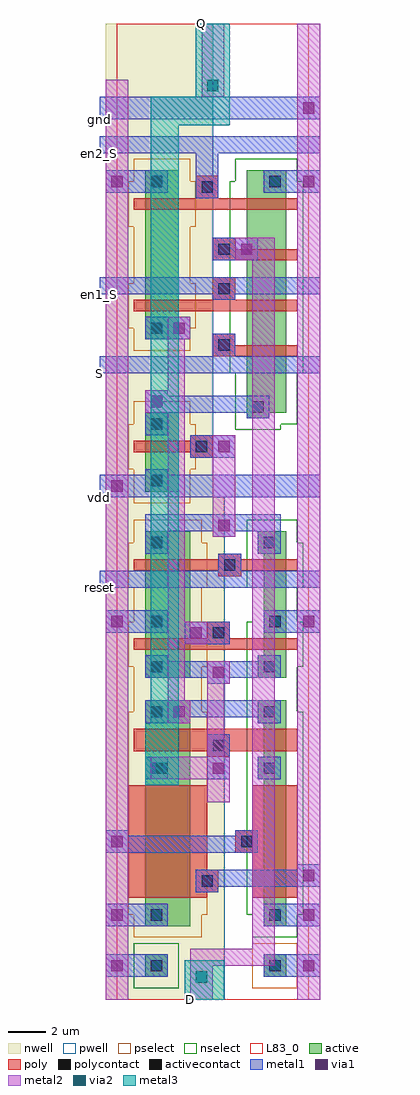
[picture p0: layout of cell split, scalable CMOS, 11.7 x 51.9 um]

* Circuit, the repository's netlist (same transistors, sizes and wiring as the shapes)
.SUBCKT split D Q en1_S en2_S reset S vdd gnd
M1 net_1 en2_S gnd gnd n w=2.1u l=0.6u 
M2 net_2 D net_1 gnd n w=2.1u l=0.6u  
M3 net_3 en1_S net_2 gnd n w=2.1u l=0.6u  
M4 net_4 S net_3 gnd n w=2.1u l=0.6u  
M5 net_4 en1_S net_5 vdd p w=1.8u l=0.6u
M6 vdd en2_S net_5 vdd p w=1.8u l=0.6u    
M7 Q net_4 vdd vdd p w=2.4u l=0.6u  
M8 Q net_4 gnd gnd n w=1.2u l=0.6u
M9 reset_bar reset vdd vdd p w=2.4u l=0.6u
M10 reset_bar reset gnd gnd n w=1.2u l=0.6u
M11 net_4 reset_bar vdd vdd p w=1.8u l=0.6u
M12 net_4 Q q1 gnd n w=1.2u l=1.2u
M13 net_4 Q p1 vdd p w=2.4u l=1.2u
M14 q1 vdd gnd gnd n w=1.2u l=6u
M15 p1 gnd vdd vdd p w=2.4u l=6u
.ENDS split

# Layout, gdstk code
import gdstk
lib = gdstk.Library(unit=1e-6, precision=1e-09)
def R(c, l, rs):  # rectangles x0, y0, x1, y1
    for r in rs: c.add(gdstk.rectangle(r[:2], r[2:], *l))
def A(c, l, x, y, w, h, nx, ny, dx, dy):  # array of equal rectangles
    R(c, l, [(x+i*dx, y+j*dy, x+i*dx+w, y+j*dy+h) for i in range(nx) for j in range(ny)])
pwell = (41, 0)
nwell = (42, 0)
active = (43, 0)
pselect = (44, 0)
nselect = (45, 0)
poly = (46, 0)
polycontact = (47, 0)
activecontact = (48, 0)
metal1 = (49, 0)
via1 = (50, 0)
metal2 = (51, 0)
via2 = (61, 0)
metal3 = (62, 0)
L83_0 = (83, 0)

split = lib.new_cell('split')
R(split, pwell, [(5.7,0,10.8,26.7), (5.1,26.7,10.8,51.9)])
R(split, nwell, [(-0.6,0,5.7,26.7), (-0.6,26.7,5.1,51.9)])
R(split, active, [(1.5,1.2,2.7,2.4), (7.8,1.2,9,2.4), (1.5,3.9,3.9,15.9), (7.8,3.9,9,11.7), (7.5,11.7,9,12.9), (7.8,12.9,9,14.7), (7.5,14.7,9,15.9), (1.5,17.1,3.9,24.9), (7.5,17.1,9,18.3), (7.8,18.3,9,23.7), (7.5,23.7,9,24.9), (1.5,27,3.3,31.2), (6.9,30.9,8.1,31.2), (6.9,31.2,9,44.1), (1.5,35.1,3.3,44.1)])
R(split, pselect, [(7.2,0.6,9.6,3), (0.9,3.3,4.5,4.5), (0.6,4.5,4.8,15.3), (0.9,15.3,4.5,17.7), (0.6,17.7,4.8,20.1), (0.9,20.1,4.5,21.9), (0.6,21.9,4.8,24.3), (0.9,24.3,4.5,25.5), (0.9,26.4,3.9,28.2), (0.6,28.2,4.2,30.6), (0.9,30.6,3.9,31.8), (0.9,34.5,3.9,35.7), (0.6,35.7,4.2,38.1), (0.9,38.1,3.9,41.1), (0.6,41.1,4.2,43.5), (0.9,43.5,3.9,44.7)])
R(split, nselect, [(0.9,0.6,3.3,3), (7.2,3.3,9.6,4.5), (6.9,4.5,9.9,15.3), (6.9,15.3,9.6,17.7), (6.9,17.7,9.9,20.1), (7.2,20.1,9.6,21.9), (6.9,21.9,9.9,24.3), (6.9,24.3,9.6,25.5), (6.3,30.3,8.7,30.6), (6.3,30.6,9.6,33.3), (6,33.3,9.9,43.5), (6.3,43.5,9.6,44.7)])
R(split, poly, [(0.6,5.4,4.8,5.7), (7.2,5.4,9.6,7.8), (0.6,5.7,5.4,6.9), (0.6,6.9,4.8,11.4), (6.3,7.8,9.6,9), (7.2,9,9.6,11.4), (4.8,12.9,6,13.2), (0.9,13.2,9.6,14.4), (0.9,18.6,9.6,19.2), (4.8,19.2,6,20.1), (5.4,22.5,6.6,22.8), (0.9,22.8,9.6,23.4), (5.4,23.4,6.6,23.7), (3.9,28.8,5.1,29.1), (0.9,29.1,5.1,29.7), (3.9,29.7,5.1,30), (5.1,34.2,9.6,34.8), (5.1,34.8,6.3,35.4), (0.9,36.6,9.6,37.2), (5.1,37.2,6.3,38.4), (5.1,39.3,9.6,39.9), (5.1,39.9,6.3,40.5), (0.9,42,9.6,42.6), (4.2,42.6,5.4,43.8)])
R(split, polycontact, [(4.5,6,5.1,6.6), (6.6,8.1,7.2,8.7), (5.1,13.2,5.7,13.8), (5.1,19.2,5.7,19.8), (5.7,22.8,6.3,23.4), (4.2,29.1,4.8,29.7), (5.4,34.5,6,35.1), (5.4,37.5,6,38.1), (5.4,39.6,6,40.2), (4.5,42.9,5.1,43.5)])
A(split, activecontact, 1.8, 15, 0.6, 0.6, 1, 3, 0, 2.4)
R(split, activecontact, [(1.8,1.5,2.4,2.1), (8.1,1.5,8.7,2.1), (1.8,4.2,2.4,4.8), (8.1,4.2,8.7,4.8), (1.8,12,2.4,12.6), (7.8,12,8.4,12.6), (7.8,15,8.4,15.6), (7.8,17.4,8.4,18), (8.1,19.8,8.7,20.4), (1.8,24,2.4,24.6), (7.8,24,8.4,24.6), (1.8,27.3,2.4,27.9), (1.8,30.3,2.4,30.9), (7.2,31.2,7.8,31.8), (1.8,35.4,2.4,36), (1.8,43.2,2.4,43.8), (8.1,43.2,8.7,43.8)])
R(split, metal1, [(-0.6,1.2,2.7,2.4), (7.8,1.2,10.8,2.4), (-0.6,3.9,2.7,5.1), (7.8,3.9,10.8,5.1), (4.2,5.7,5.4,6), (4.2,6,10.8,6.9), (9.6,6.9,10.8,7.2), (-0.6,7.8,7.5,8.7), (-0.6,8.7,0.6,9), (6.3,8.7,7.5,9), (1.5,11.7,2.7,12.9), (4.8,11.7,6,14.1), (7.5,11.7,8.7,12.9), (1.5,14.7,3.9,15), (7.5,14.7,8.7,15), (1.5,15,8.7,15.9), (4.8,16.8,6,17.1), (1.5,17.1,8.7,18), (1.5,18,2.7,18.3), (7.5,18,8.7,18.3), (3.6,18.9,6,20.1), (-0.6,19.5,2.7,20.7), (7.8,19.5,10.8,20.7), (-0.9,21.9,10.8,22.8), (5.4,22.8,6.6,23.7), (1.5,23.7,2.7,24.9), (7.5,23.7,8.7,24.9), (5.1,24.6,6.3,24.9), (1.5,24.9,8.7,25.8), (-0.9,26.7,10.8,27.9), (1.5,27.9,2.7,28.2), (3.9,28.8,6.3,30), (1.5,30,2.7,31.2), (6.9,30.9,8.1,31.2), (1.5,31.2,8.1,32.1), (1.5,32.1,2.7,32.4), (-0.9,33.3,10.8,34.2), (5.1,34.2,6.3,35.4), (1.5,35.1,3.9,36.3), (5.1,37.2,6.3,37.5), (-0.9,37.5,10.8,38.4), (5.1,39.3,7.5,40.5), (4.2,42.6,5.4,45), (-0.6,42.9,2.7,44.1), (7.8,42.9,10.8,44.1), (-0.9,45,10.8,45.9), (-0.9,46.8,10.8,48)])
R(split, via1, [(-0.3,1.5,0.3,2.1), (9.9,1.5,10.5,2.1), (-0.3,4.2,0.3,4.8), (9.9,4.2,10.5,4.8), (9.9,6.3,10.5,6.9), (-0.3,8.1,0.3,8.7), (5.1,12,5.7,12.6), (3,15,3.6,15.6), (5.1,17.1,5.7,17.7), (3.9,19.2,4.5,19.8), (-0.3,19.8,0.3,20.4), (9.9,19.8,10.5,20.4), (5.4,24.9,6,25.5), (-0.3,27,0.3,27.6), (5.4,29.1,6,29.7), (1.8,31.5,2.4,32.1), (3,35.4,3.6,36), (6.6,39.6,7.2,40.2), (-0.3,43.2,0.3,43.8), (9.9,43.2,10.5,43.8), (9.9,47.1,10.5,47.7)])
R(split, metal2, [(-0.6,0,0.6,48.9), (3.9,0,5.1,1.8), (9.6,0,10.8,51.9), (3.9,1.8,8.4,2.7), (7.2,2.7,8.4,39.3), (4.8,10.5,6,11.7), (1.8,11.7,6,12.9), (4.8,12.9,5.7,16.8), (2.7,14.7,3.9,15.9), (2.7,15.9,3.6,18.9), (4.8,16.8,6,18), (2.7,18.9,4.8,20.1), (2.7,20.1,3.6,31.2), (5.1,24.6,6.3,30), (1.5,31.2,3.6,32.4), (2.7,32.4,3.6,35.1), (2.7,35.1,3.9,36.3), (6.3,39.3,8.4,40.5), (4.5,48,5.7,51.9)])
R(split, via2, [(4.2,0.9,4.8,1.5), (2.1,12,2.7,12.6), (4.8,48.3,5.4,48.9)])
R(split, metal3, [(3.6,0,5.7,2.1), (1.5,11.4,3.3,14.7), (1.8,14.7,3.3,46.5), (1.8,46.5,6,48), (4.2,48,6,51.9)])
R(split, L83_0, [(0,0,10.2,51.9)])
split.add(gdstk.Label('reset', (-0.9,21.9), layer=49, texttype=0))
split.add(gdstk.Label('en2_S', (-0.9,45), layer=49, texttype=0))
split.add(gdstk.Label('S', (-0.9,33.3), layer=49, texttype=0))
split.add(gdstk.Label('en1_S', (-0.9,37.5), layer=49, texttype=0))
split.add(gdstk.Label('vdd', (-0.9,26.7), layer=49, texttype=0))
split.add(gdstk.Label('gnd', (-0.9,46.8), layer=49, texttype=0))
split.add(gdstk.Label('D', (3.9,0), layer=62, texttype=0))
split.add(gdstk.Label('Q', (4.5,51.9), layer=62, texttype=0))

lib.write_gds('split.gds')
